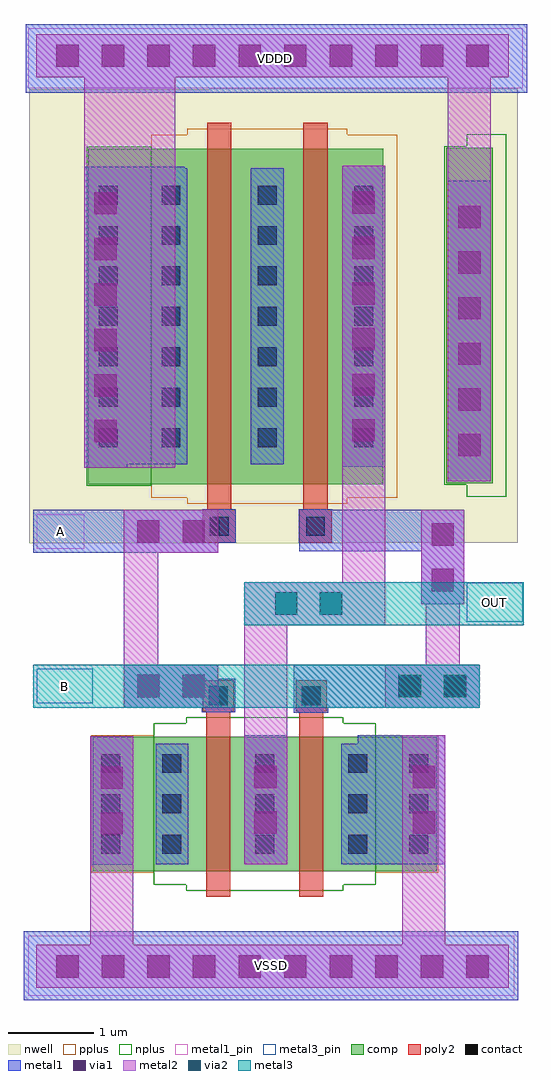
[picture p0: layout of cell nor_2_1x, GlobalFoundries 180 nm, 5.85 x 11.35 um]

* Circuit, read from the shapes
.subckt nor_2_1x A B OUT VDDD VSSD
XM1 OUT A VSSD VSSD nfet_03v3 w=1.56u l=0.28u
XM2 VSSD B OUT VSSD nfet_03v3 w=1.56u l=0.28u
XM3 n1 A VDDD VDDD pfet_03v3 w=3.9u l=0.28u
XM4 OUT B n1 VDDD pfet_03v3 w=3.9u l=0.28u
.ends

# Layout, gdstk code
import gdstk
lib = gdstk.Library(unit=1e-6, precision=1e-09)
def R(c, l, rs):  # rectangles x0, y0, x1, y1
    for r in rs: c.add(gdstk.rectangle(r[:2], r[2:], *l))
def A(c, l, x, y, w, h, nx, ny, dx, dy):  # array of equal rectangles
    R(c, l, [(x+i*dx, y+j*dy, x+i*dx+w, y+j*dy+h) for i in range(nx) for j in range(ny)])
nwell = (21, 0)
comp = (22, 0)
poly2 = (30, 0)
pplus = (31, 0)
nplus = (32, 0)
contact = (33, 0)
metal1 = (34, 0)
metal1_pin = (34, 10)
via1 = (35, 0)
metal2 = (36, 0)
via2 = (38, 0)
metal3 = (42, 0)
metal3_pin = (42, 10)

nor_2_1x = lib.new_cell('nor_2_1x')
R(nor_2_1x, nwell, [(-0.54,-2.69,3.15,-2.68), (-0.54,-2.68,5.14,2.59), (1.56,2.59,5.14,2.6)])
R(nor_2_1x, comp, [(0.2,-6.5,4.2,-4.94), (0.15,-2,3.58,1.9), (4.31,-1.99,4.85,1.91)])
R(nor_2_1x, poly2, [(1.52,-6.8,1.8,-4.64), (2.6,-6.8,2.88,-4.64), (1.48,-4.64,1.84,-4.28), (2.56,-4.64,2.92,-4.28), (1.48,-2.68,1.86,-2.3), (2.6,-2.68,2.98,-2.3), (1.53,-2.3,1.81,2.2), (2.65,-2.3,2.93,2.2)])
R(nor_2_1x, pplus, [(0.18,-6.52,0.91,-4.92), (3.49,-6.52,4.22,-4.92), (1.3,-2.23,3.16,-2.16), (0.88,-2.16,3.74,2.06), (1.3,2.06,3.16,2.13)])
R(nor_2_1x, nplus, [(1.29,-6.73,3.11,-6.66), (0.91,-6.66,3.49,-4.78), (1.29,-4.78,3.11,-4.71), (4.55,-2.15,5.01,-2.01), (0.13,-2.02,0.88,1.92), (4.29,-2.01,5.01,1.93), (4.55,1.93,5.01,2.07)])
A(nor_2_1x, contact, 0.3, -6.3, 0.22, 0.22, 1, 3, 0, 0.47)
A(nor_2_1x, contact, 1.01, -6.3, 0.22, 0.22, 3, 3, 1.08, 0.47)
A(nor_2_1x, contact, 3.88, -6.3, 0.22, 0.22, 1, 3, 0, 0.47)
A(nor_2_1x, contact, 0.27, -1.57, 0.22, 0.22, 1, 7, 0, 0.47)
A(nor_2_1x, contact, 1, -1.57, 0.22, 0.22, 3, 7, 1.12, 0.47)
R(nor_2_1x, contact, [(1.55,-4.57,1.77,-4.35), (2.63,-4.57,2.85,-4.35), (1.56,-2.6,1.78,-2.38), (2.68,-2.6,2.9,-2.38)])
R(nor_2_1x, metal1, [(-0.6,-8,5.15,-7.2), (0.17,-6.43,0.67,-4.93), (0.93,-6.42,1.31,-5.02), (1.96,-6.42,2.46,-4.92), (3.09,-6.42,4.3,-5.02), (3.28,-5.02,4.3,-4.92), (2.54,-4.66,2.94,-4.6), (1.465,-4.655,1.855,-4.6), (0.56,-4.6,1.855,-4.265), (2.54,-4.6,4.7,-4.1), (0.56,-4.265,1.66,-4.1), (4.02,-3.4,4.52,-2.78), (-0.49,-2.8,1.66,-2.685), (2.6,-2.78,4.52,-2.685), (-0.49,-2.685,1.865,-2.3), (2.595,-2.685,4.52,-2.3), (1.475,-2.3,1.865,-2.295), (2.595,-2.3,2.985,-2.295), (4.33,-1.97,4.83,1.53), (0.1,-1.81,0.6,-1.77), (3.1,-1.8,3.6,1.7), (0.1,-1.77,1.3,1.67), (2.04,-1.77,2.42,1.67), (0.1,1.67,1.27,1.69), (-0.58,2.55,5.25,3.35)])
R(nor_2_1x, metal1_pin, [(-0.55,-7.95,5.1,-7.25), (-0.45,-2.75,0.1,-2.35), (-0.55,2.6,5.2,3.3)])
A(nor_2_1x, via1, -0.225, -7.74, 0.26, 0.26, 10, 2, 0.53, 10.59)
A(nor_2_1x, via1, 4.45, -1.675, 0.26, 0.26, 1, 6, 0, 0.53)
A(nor_2_1x, via1, 0.22, -1.515, 0.26, 0.26, 1, 6, 0, 0.53)
A(nor_2_1x, via1, 3.22, -1.505, 0.26, 0.26, 1, 6, 0, 0.53)
R(nor_2_1x, via1, [(0.29,-6.075,0.55,-5.815), (2.08,-6.065,2.34,-5.805), (3.92,-6.065,4.18,-5.805), (0.29,-5.545,0.55,-5.285), (2.08,-5.535,2.34,-5.275), (3.92,-5.535,4.18,-5.275), (0.715,-4.48,0.975,-4.22), (1.245,-4.48,1.505,-4.22), (3.755,-4.48,4.015,-4.22), (4.285,-4.48,4.545,-4.22), (4.14,-3.245,4.4,-2.985), (4.14,-2.715,4.4,-2.455), (0.715,-2.68,0.975,-2.42), (1.245,-2.68,1.505,-2.42)])
R(nor_2_1x, metal2, [(-0.46,-7.86,5.04,-7.36), (0.17,-7.36,0.67,-4.93), (3.8,-7.36,4.3,-4.92), (1.96,-6.42,2.46,-3.64), (0.56,-4.6,1.66,-4.1), (3.6,-4.6,4.7,-4.1), (0.56,-4.1,0.96,-2.8), (4.07,-4.1,4.47,-3.4), (1.96,-3.64,3.6,-3.14), (4.02,-3.4,4.52,-2.3), (3.1,-3.14,3.6,1.7), (0.56,-2.8,1.66,-2.3), (4.33,-1.97,4.83,2.73), (0.1,-1.81,1.16,2.73), (-0.46,2.73,5.04,3.23)])
R(nor_2_1x, via2, [(3.76,-4.48,4.02,-4.22), (4.28,-4.48,4.54,-4.22), (2.32,-3.52,2.58,-3.26), (2.84,-3.52,3.1,-3.26)])
R(nor_2_1x, metal3, [(-0.49,-4.6,4.7,-4.1), (1.96,-3.64,5.21,-3.14)])
R(nor_2_1x, metal3_pin, [(-0.45,-4.55,0.2,-4.15), (4.55,-3.6,5.2,-3.15)])
nor_2_1x.add(gdstk.Label('A', (-0.175,-2.55), layer=34, texttype=10))
nor_2_1x.add(gdstk.Label('B', (-0.125,-4.35), layer=42, texttype=10))
nor_2_1x.add(gdstk.Label('VDDD', (2.325,2.95), layer=34, texttype=10))
nor_2_1x.add(gdstk.Label('VSSD', (2.275,-7.6), layer=34, texttype=10))
nor_2_1x.add(gdstk.Label('OUT', (4.875,-3.375), layer=42, texttype=10))

lib.write_gds('nor_2_1x.gds')
